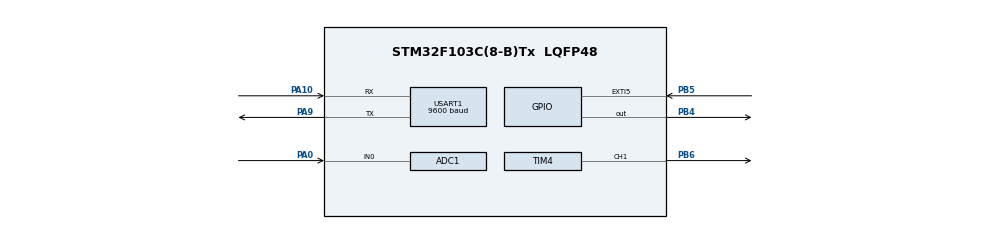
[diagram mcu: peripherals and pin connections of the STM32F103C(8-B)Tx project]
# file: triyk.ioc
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ADC1.Channel-0\#ChannelRegularConversion=ADC_CHANNEL_0
ADC1.NbrOfConversionFlag=1
ADC1.Rank-0\#ChannelRegularConversion=1
ADC1.SamplingTime-0\#ChannelRegularConversion=ADC_SAMPLETIME_1CYCLE_5
ADC1.master=1
Mcu.Family=STM32F1
Mcu.Name=STM32F103C(8-B)Tx
Mcu.Package=LQFP48
NVIC.EXTI9_5_IRQn=true\:0\:0\:false\:false\:true\:true\:true\:true
NVIC.PriorityGroup=NVIC_PRIORITYGROUP_4
NVIC.TIM1_BRK_IRQn=true\:0\:0\:false\:false\:true\:true\:true\:true
NVIC.TIM1_CC_IRQn=true\:0\:0\:false\:false\:true\:true\:true\:true
NVIC.TIM1_TRG_COM_IRQn=true\:0\:0\:false\:false\:true\:true\:true\:true
NVIC.TIM1_UP_IRQn=true\:0\:0\:false\:false\:true\:true\:true\:true
NVIC.TIM3_IRQn=true\:0\:0\:false\:false\:true\:true\:true\:true
NVIC.TIM4_IRQn=true\:0\:0\:false\:false\:true\:true\:true\:true
PA0-WKUP.Signal=ADCx_IN0
PA10.Mode=Asynchronous
PA10.Signal=USART1_RX
PA9.Mode=Asynchronous
PA9.Signal=USART1_TX
PB4.Signal=GPIO_Output
PB5.Signal=GPXTI5
PB6.Signal=S_TIM4_CH1
ProjectManager.HeapSize=0x200
ProjectManager.StackSize=0x400
ProjectManager.TargetToolchain=STM32CubeIDE
RCC.APB1Freq_Value=8000000
RCC.APB2Freq_Value=8000000
SH.ADCx_IN0.0=ADC1_IN0,IN0
SH.S_TIM4_CH1.0=TIM4_CH1,PWM Generation1 CH1
TIM1.Period=1000
TIM1.Prescaler=7
TIM3.Period=300
TIM3.Prescaler=70
TIM4.Channel-PWM\ Generation1\ CH1=TIM_CHANNEL_1
TIM4.OCPolarity_1=TIM_OCPOLARITY_LOW
TIM4.Period=100
TIM4.Prescaler=70
TIM4.Pulse-PWM\ Generation1\ CH1=30
USART1.BaudRate=9600
USART1.VirtualMode=VM_ASYNC
VP_SYS_VS_ND.Mode=No_Debug
VP_TIM1_VS_ClockSourceINT.Mode=Internal
VP_TIM3_VS_ClockSourceINT.Mode=Internal
VP_TIM4_VS_ClockSourceINT.Mode=Internal
VP_TIM4_VS_OPM.Mode=OPM_bit
board=custom

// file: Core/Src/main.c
/* USER CODE BEGIN Header */
/**
  ******************************************************************************
  * @file           : main.c
  * @brief          : Main program body
  ******************************************************************************
  * @attention
  *
  * Copyright (c) 2024 STMicroelectronics.
  * All rights reserved.
  *
  * This software is licensed under terms that can be found in the LICENSE file
  * in the root directory of this software component.
  * If no LICENSE file comes with this software, it is provided AS-IS.
  *
  ******************************************************************************
  */
/* USER CODE END Header */
#include "main.h"

/* USER CODE BEGIN Includes */
#include "stdbool.h"
/* USER CODE END Includes */

/* USER CODE BEGIN PM */
volatile uint32_t frequencyCounter = 0;
volatile uint32_t frequencyReceived = 0;
uint32_t frequencyTimer = 0;
uint32_t frequency = false;
volatile bool printflag = false;
UART_HandleTypeDef huart1;
bool frequencyCalculated = false;
uint8_t frequencyDetected = false;
/* USER CODE END PM */

ADC_HandleTypeDef hadc1;

TIM_HandleTypeDef htim1;
TIM_HandleTypeDef htim3;
TIM_HandleTypeDef htim4;

UART_HandleTypeDef huart1;

/* USER CODE BEGIN PV */
ADC_HandleTypeDef hadc1;
/* USER CODE END PV */

void SystemClock_Config(void);
static void MX_GPIO_Init(void);
static void MX_TIM3_Init(void);
static void MX_TIM4_Init(void);
static void MX_USART1_UART_Init(void);
static void MX_TIM1_Init(void);
static void MX_ADC1_Init(void);
/* USER CODE BEGIN PFP */
uint32_t angleLevel = 0;
int32_t angleTimerValue = 0;
int32_t olcAngleTimerValue = 0;
int32_t Determine_PhaseTimerValue(int32_t x, int32_t in_min,
						int32_t in_max, int32_t out_min, int32_t out_max) {
  return (x - in_min) * (out_max - out_min) / (in_max - in_min) + out_min;
}

uint32_t Determine_PWMLevel(uint32_t adcVal){
	uint32_t level = 0;
	if(adcVal >= 0 && adcVal < 200){
		level = 0;
	}
	else if(adcVal >= 200 && adcVal < 400){
		level = 10;
	}
	else if(adcVal >= 400 && adcVal < 800){
		level = 20;
	}
	else if(adcVal >= 800 && adcVal < 1200){
		level = 30;
	}
	else if(adcVal >= 1200 && adcVal < 1600){
		level = 40;
	}
	else if(adcVal >= 1600 && adcVal < 2000){
		level = 50;
	}
	else if(adcVal >= 2000 && adcVal < 2400){
		level = 60;
	}
	else  if(adcVal >= 2400 && adcVal < 2800){
		level = 70;
	}
	else  if(adcVal >= 3200 && adcVal < 3600){
		level = 80;
	}
	else  if(adcVal >= 3600 && adcVal < 4000){
		level = 90;
	}else{
		level = 100;
	}

	return level;
}

/* USER CODE END PFP */

int main(void)
{

  /* MCU Configuration--------------------------------------------------------*/

  /* Reset of all peripherals, Initializes the Flash interface and the Systick. */
  HAL_Init();

  /* Configure the system clock */
  SystemClock_Config();

  /* Initialize all configured peripherals */
  MX_GPIO_Init();
  MX_TIM3_Init();
  MX_TIM4_Init();
  MX_USART1_UART_Init();
  MX_TIM1_Init();
  MX_ADC1_Init();
  /* USER CODE BEGIN 2 */
  MX_ADC1_Init();
  HAL_TIM_Base_Start_IT(&htim1);
  uint8_t msg[50];
  uint32_t adcSum = 0, adcVal = 0;
  /* USER CODE END 2 */

  /* Infinite loop */
  /* USER CODE BEGIN WHILE */
  while (1)
  {
	  if(printflag){
	  memset(msg, 0, sizeof(msg));

	  if(!frequencyCalculated){
		  if(frequencyReceived >= 40 && frequencyReceived <=70){
			  if(frequencyReceived > 40 && frequencyReceived <= 50){
				  frequencyDetected = 50;
			  }else{
				  frequencyDetected = 60;
			  }
			  frequencyCalculated = true;
		  }

	  }

	  if(frequencyCalculated){
		  sprintf(msg, "Freq: %d, ADC: %d, Angle: %%%d, T3 Timer %d\r\n",
				  	  	  	  	  	  frequencyDetected, adcVal, 100 - angleLevel, angleTimerValue);
		  HAL_UART_Transmit(&huart1, msg, strlen(msg), 100);
		  printflag = false;
		  frequencyReceived = 0;
	  }else{
		  sprintf(msg, "Frequency ERROR,ADC: %d, Angle: %%%d, T3 Timer %d\r\n", adcVal, 100 - angleLevel,angleTimerValue);
		  HAL_UART_Transmit(&huart1, msg, strlen(msg), 100);
		  printflag = false;
		  frequencyReceived = 0;
	  }

  }
  for(uint8_t i = 0; i < 10; i++){
	  HAL_ADC_Start(&hadc1);
	  HAL_ADC_PollForConversion(&hadc1, 10000);
	  adcSum +=  HAL_ADC_GetValue(&hadc1);
	  HAL_Delay(10);
  }
  adcVal = adcSum / 10;
  adcSum = 0;
  angleLevel = Determine_PWMLevel(adcVal);
  angleLevel = 100 - angleLevel;

  if(angleLevel >= 100){
	  angleTimerValue = 0;

  }else{
	  if(frequencyDetected == 60){
		  angleTimerValue = Determine_PhaseTimerValue(angleLevel,0, 100, 350, 748);
	  }else{
		  angleTimerValue = Determine_PhaseTimerValue(angleLevel,0, 100, (uint32_t)350*1.2, (uint32_t)748*1.2);
	  }

  }

  if(angleTimerValue < 0){
	  angleTimerValue = 0;
  }

  if(olcAngleTimerValue != angleTimerValue){
	  if(frequencyCalculated){
		  __HAL_TIM_SET_COUNTER(&htim3, 0);
		  __HAL_TIM_SET_AUTORELOAD(&htim3, angleTimerValue);
		  olcAngleTimerValue = angleTimerValue;
		  HAL_UART_Transmit(&huart1, "Timer Period Changed\r\n", strlen("Timer Period Changed\r\n"), 100);
	  }
  }

    /* USER CODE END WHILE */

  }
}

void SystemClock_Config(void)
{
  RCC_OscInitTypeDef RCC_OscInitStruct = {0};
  RCC_ClkInitTypeDef RCC_ClkInitStruct = {0};
  RCC_PeriphCLKInitTypeDef PeriphClkInit = {0};

  /** Initializes the RCC Oscillators according to the specified parameters
  * in the RCC_OscInitTypeDef structure.
  */
  RCC_OscInitStruct.OscillatorType = RCC_OSCILLATORTYPE_HSI;
  RCC_OscInitStruct.HSIState = RCC_HSI_ON;
  RCC_OscInitStruct.HSICalibrationValue = RCC_HSICALIBRATION_DEFAULT;
  RCC_OscInitStruct.PLL.PLLState = RCC_PLL_NONE;
  if (HAL_RCC_OscConfig(&RCC_OscInitStruct) != HAL_OK)
  {
    Error_Handler();
  }

  /** Initializes the CPU, AHB and APB buses clocks
  */
  RCC_ClkInitStruct.ClockType = RCC_CLOCKTYPE_HCLK|RCC_CLOCKTYPE_SYSCLK
                              |RCC_CLOCKTYPE_PCLK1|RCC_CLOCKTYPE_PCLK2;
  RCC_ClkInitStruct.SYSCLKSource = RCC_SYSCLKSOURCE_HSI;
  RCC_ClkInitStruct.AHBCLKDivider = RCC_SYSCLK_DIV1;
  RCC_ClkInitStruct.APB1CLKDivider = RCC_HCLK_DIV1;
  RCC_ClkInitStruct.APB2CLKDivider = RCC_HCLK_DIV1;

  if (HAL_RCC_ClockConfig(&RCC_ClkInitStruct, FLASH_LATENCY_0) != HAL_OK)
  {
    Error_Handler();
  }
  PeriphClkInit.PeriphClockSelection = RCC_PERIPHCLK_ADC;
  PeriphClkInit.AdcClockSelection = RCC_ADCPCLK2_DIV2;
  if (HAL_RCCEx_PeriphCLKConfig(&PeriphClkInit) != HAL_OK)
  {
    Error_Handler();
  }
}

static void MX_ADC1_Init(void)
{

  ADC_ChannelConfTypeDef sConfig = {0};

  /** Common config
  */
  hadc1.Instance = ADC1;
  hadc1.Init.ScanConvMode = ADC_SCAN_DISABLE;
  hadc1.Init.ContinuousConvMode = DISABLE;
  hadc1.Init.DiscontinuousConvMode = DISABLE;
  hadc1.Init.ExternalTrigConv = ADC_SOFTWARE_START;
  hadc1.Init.DataAlign = ADC_DATAALIGN_RIGHT;
  hadc1.Init.NbrOfConversion = 1;
  if (HAL_ADC_Init(&hadc1) != HAL_OK)
  {
    Error_Handler();
  }

  /** Configure Regular Channel
  */
  sConfig.Channel = ADC_CHANNEL_0;
  sConfig.Rank = ADC_REGULAR_RANK_1;
  sConfig.SamplingTime = ADC_SAMPLETIME_1CYCLE_5;
  if (HAL_ADC_ConfigChannel(&hadc1, &sConfig) != HAL_OK)
  {
    Error_Handler();
  }

}

static void MX_TIM1_Init(void)
{

  TIM_ClockConfigTypeDef sClockSourceConfig = {0};
  TIM_MasterConfigTypeDef sMasterConfig = {0};

  htim1.Instance = TIM1;
  htim1.Init.Prescaler = 7;
  htim1.Init.CounterMode = TIM_COUNTERMODE_UP;
  htim1.Init.Period = 1000;
  htim1.Init.ClockDivision = TIM_CLOCKDIVISION_DIV1;
  htim1.Init.RepetitionCounter = 0;
  htim1.Init.AutoReloadPreload = TIM_AUTORELOAD_PRELOAD_DISABLE;
  if (HAL_TIM_Base_Init(&htim1) != HAL_OK)
  {
    Error_Handler();
  }
  sClockSourceConfig.ClockSource = TIM_CLOCKSOURCE_INTERNAL;
  if (HAL_TIM_ConfigClockSource(&htim1, &sClockSourceConfig) != HAL_OK)
  {
    Error_Handler();
  }
  sMasterConfig.MasterOutputTrigger = TIM_TRGO_RESET;
  sMasterConfig.MasterSlaveMode = TIM_MASTERSLAVEMODE_DISABLE;
  if (HAL_TIMEx_MasterConfigSynchronization(&htim1, &sMasterConfig) != HAL_OK)
  {
    Error_Handler();
  }

}

static void MX_TIM3_Init(void)
{

  TIM_ClockConfigTypeDef sClockSourceConfig = {0};
  TIM_MasterConfigTypeDef sMasterConfig = {0};

  htim3.Instance = TIM3;
  htim3.Init.Prescaler = 70;
  htim3.Init.CounterMode = TIM_COUNTERMODE_UP;
  htim3.Init.Period = angleTimerValue;
  htim3.Init.ClockDivision = TIM_CLOCKDIVISION_DIV1;
  htim3.Init.AutoReloadPreload = TIM_AUTORELOAD_PRELOAD_DISABLE;
  if (HAL_TIM_Base_Init(&htim3) != HAL_OK)
  {
    Error_Handler();
  }
  sClockSourceConfig.ClockSource = TIM_CLOCKSOURCE_INTERNAL;
  if (HAL_TIM_ConfigClockSource(&htim3, &sClockSourceConfig) != HAL_OK)
  {
    Error_Handler();
  }
  sMasterConfig.MasterOutputTrigger = TIM_TRGO_RESET;
  sMasterConfig.MasterSlaveMode = TIM_MASTERSLAVEMODE_DISABLE;
  if (HAL_TIMEx_MasterConfigSynchronization(&htim3, &sMasterConfig) != HAL_OK)
  {
    Error_Handler();
  }

}

static void MX_TIM4_Init(void)
{

  TIM_ClockConfigTypeDef sClockSourceConfig = {0};
  TIM_MasterConfigTypeDef sMasterConfig = {0};
  TIM_OC_InitTypeDef sConfigOC = {0};

  htim4.Instance = TIM4;
  htim4.Init.Prescaler = 70;
  htim4.Init.CounterMode = TIM_COUNTERMODE_UP;
  htim4.Init.Period = 100;
  htim4.Init.ClockDivision = TIM_CLOCKDIVISION_DIV1;
  htim4.Init.AutoReloadPreload = TIM_AUTORELOAD_PRELOAD_DISABLE;
  if (HAL_TIM_Base_Init(&htim4) != HAL_OK)
  {
    Error_Handler();
  }
  sClockSourceConfig.ClockSource = TIM_CLOCKSOURCE_INTERNAL;
  if (HAL_TIM_ConfigClockSource(&htim4, &sClockSourceConfig) != HAL_OK)
  {
    Error_Handler();
  }
  if (HAL_TIM_PWM_Init(&htim4) != HAL_OK)
  {
    Error_Handler();
  }
  if (HAL_TIM_OnePulse_Init(&htim4, TIM_OPMODE_SINGLE) != HAL_OK)
  {
    Error_Handler();
  }
  sMasterConfig.MasterOutputTrigger = TIM_TRGO_RESET;
  sMasterConfig.MasterSlaveMode = TIM_MASTERSLAVEMODE_DISABLE;
  if (HAL_TIMEx_MasterConfigSynchronization(&htim4, &sMasterConfig) != HAL_OK)
  {
    Error_Handler();
  }
  sConfigOC.OCMode = TIM_OCMODE_PWM1;
  sConfigOC.Pulse = 30;
  sConfigOC.OCPolarity = TIM_OCPOLARITY_LOW;
  sConfigOC.OCFastMode = TIM_OCFAST_DISABLE;
  if (HAL_TIM_PWM_ConfigChannel(&htim4, &sConfigOC, TIM_CHANNEL_1) != HAL_OK)
  {
    Error_Handler();
  }
  HAL_TIM_MspPostInit(&htim4);

}

void Pulse_Change(uint32_t newValue){
	  TIM_OC_InitTypeDef sConfigOC = {0};
	  sConfigOC.OCMode = TIM_OCMODE_PWM1;
	  sConfigOC.Pulse = newValue;
	  sConfigOC.OCPolarity = TIM_OCPOLARITY_LOW;
	  sConfigOC.OCFastMode = TIM_OCFAST_DISABLE;
	  if (HAL_TIM_PWM_ConfigChannel(&htim4, &sConfigOC, TIM_CHANNEL_1) != HAL_OK)
	  {
	    Error_Handler();
	  }
}

static void MX_USART1_UART_Init(void)
{

  huart1.Instance = USART1;
  huart1.Init.BaudRate = 9600;
  huart1.Init.WordLength = UART_WORDLENGTH_8B;
  huart1.Init.StopBits = UART_STOPBITS_1;
  huart1.Init.Parity = UART_PARITY_NONE;
  huart1.Init.Mode = UART_MODE_TX_RX;
  huart1.Init.HwFlowCtl = UART_HWCONTROL_NONE;
  huart1.Init.OverSampling = UART_OVERSAMPLING_16;
  if (HAL_UART_Init(&huart1) != HAL_OK)
  {
    Error_Handler();
  }

}

static void MX_GPIO_Init(void)
{
  GPIO_InitTypeDef GPIO_InitStruct = {0};

  /* GPIO Ports Clock Enable */
  __HAL_RCC_GPIOA_CLK_ENABLE();
  __HAL_RCC_GPIOB_CLK_ENABLE();

  /*Configure GPIO pin Output Level */
  HAL_GPIO_WritePin(GPIOB, GPIO_PIN_4, GPIO_PIN_RESET);

  /*Configure GPIO pin : PB4 */
  GPIO_InitStruct.Pin = GPIO_PIN_4;
  GPIO_InitStruct.Mode = GPIO_MODE_OUTPUT_PP;
  GPIO_InitStruct.Pull = GPIO_NOPULL;
  GPIO_InitStruct.Speed = GPIO_SPEED_FREQ_LOW;
  HAL_GPIO_Init(GPIOB, &GPIO_InitStruct);

  /*Configure GPIO pin : PB5 */
  GPIO_InitStruct.Pin = GPIO_PIN_5;
  GPIO_InitStruct.Mode = GPIO_MODE_IT_RISING;
  GPIO_InitStruct.Pull = GPIO_NOPULL;
  GPIO_InitStruct.Speed = GPIO_SPEED_FREQ_MEDIUM;
  HAL_GPIO_Init(GPIOB, &GPIO_InitStruct);

  /* EXTI interrupt init*/
  HAL_NVIC_SetPriority(EXTI9_5_IRQn, 0, 0);
  HAL_NVIC_EnableIRQ(EXTI9_5_IRQn);

}

/* USER CODE BEGIN 4 */

/* USER CODE BEGIN 0 */

volatile bool fireRequired = false;
volatile bool pulseDetected = false;
/* USER CODE BEGIN 4 */
void HAL_GPIO_EXTI_Callback(uint16_t GPIO_Pin){

	frequencyCounter++;
	pulseDetected = true;
	if( frequencyCalculated){
		if(!fireRequired){
			fireRequired = true;

			HAL_TIM_Base_Start_IT(&htim3);
		}
	}
}

void App_1MS_Handler(){

	if(frequencyTimer++ >= 1000){
		frequencyTimer = 0;
		frequencyReceived = frequencyCounter/4;
		frequencyCounter = 0;
		printflag = true;
	}

}

volatile bool pulseGiven = false;
void HAL_TIM_PeriodElapsedCallback(TIM_HandleTypeDef *htim){
	if(htim->Instance == TIM3){

		if(HAL_TIM_Base_GetState(&htim3) == HAL_TIM_STATE_BUSY){
			HAL_TIM_Base_Stop_IT(&htim3);

			pulseDetected = false;
			 deneme();
			 fireRequired = false;
		}

	}

}
void HAL_TIM_PWM_PulseFinishedCallback(TIM_HandleTypeDef *htim){
	if(htim->Instance == TIM4){
		pulseGiven = false;
	}
}
void deneme(){

//	if(!pulseGiven){
//		pulseGiven = true;
		/* start pwm */
	if(angleTimerValue != 0){

		if(frequencyDetected == 60){
			Pulse_Change(25);
		}else{
			Pulse_Change(30);
		}
		__HAL_TIM_ENABLE(&htim4);

		   HAL_TIM_OnePulse_Start_IT(&htim4, TIM_CHANNEL_1);
	}

}
/* USER CODE END 4 */

void Error_Handler(void)
{
  __disable_irq();
  while (1)
  {
  }
}
